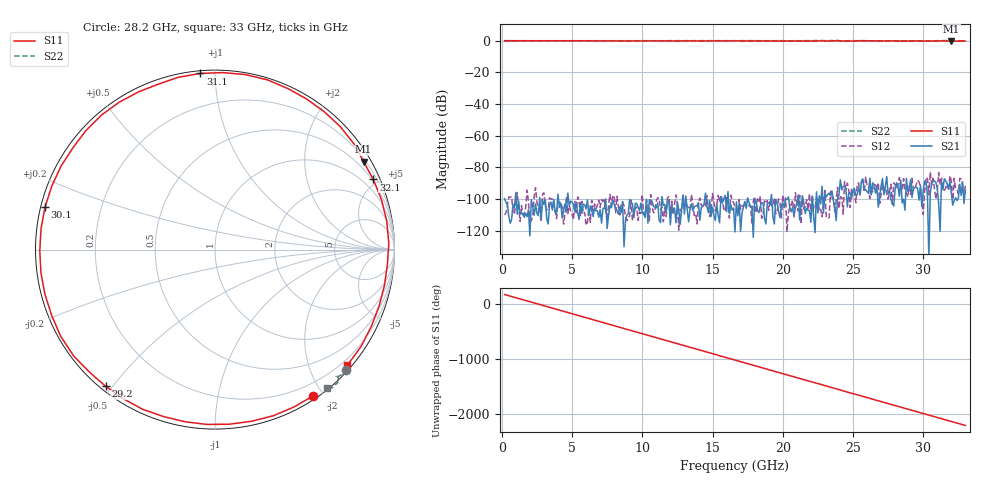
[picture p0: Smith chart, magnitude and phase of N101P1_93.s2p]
# GHZ S RI R 50
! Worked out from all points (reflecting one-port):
!   329 points, 200 MHz to 33 GHz, reference 50 ohm
!   lowest |S11| = -0.3 dB at 32 GHz (marker M1), VSWR 51.01, Z = 14 + j182 ohm
!   phase of S11 starts at 165 deg and turns -2367 deg over the sweep
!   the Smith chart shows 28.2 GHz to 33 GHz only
!   S11 on the Smith chart (normalised r, x): 28.2 GHz: 0.04, -1.87; 29.2 GHz: 0.02, -0.48; 30.1 GHz: 0.01, +0.12; 31.1 GHz: 0.01, +0.92; 32.1 GHz: 0.41, +4.69; 33 GHz: 0.08, -2.66
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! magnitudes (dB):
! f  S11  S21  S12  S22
! 200 MHz  0.0  -99.7  -110.2  0.0
! 5.7 GHz  -0.1  -109.1  -101.5  0.0
! 11.2 GHz  -0.1  -113.6  -99.8  -0.1
! 16.6 GHz  -0.1  -120.9  -104.9  0.0
! 22.1 GHz  -0.2  -98.2  -97.6  0.0
! 22.6 GHz  -0.1  -98.0  -107.6  0.2
! 23 GHz  -0.2  -96.6  -94.7  0.0
! 23.3 GHz  -0.2  -96.4  -111.9  0.0
! 23.9 GHz  0.1  -99.9  -92.7  0.2
! 24.1 GHz  -0.2  -87.9  -98.5  0.0
! 24.5 GHz  -0.1  -94.2  -93.9  0.0
! 24.9 GHz  -0.3  -99.5  -93.4  0.0
! 25.5 GHz  0.0  -97.1  -97.6  0.0
! 27.6 GHz  -0.1  -95.1  -94.9  -0.1
! 28.2 GHz  -0.2  -92.1  -90.8  -0.1
! 29.2 GHz  -0.2  -99.1  -86.9  -0.1
! 30.1 GHz  -0.2  -88.8  -95.3  -0.2
! 31.1 GHz  -0.1  -103.0  -83.3  0.0
! 31.9 GHz  -0.2  -89.1  -85.4  0.1
! 32 GHz  -0.3  -96.6  -88.4  0.0
! 32.1 GHz  -0.3  -104.0  -103.3  0.0
! 33 GHz  -0.2  -94.6  -91.4  -0.1
